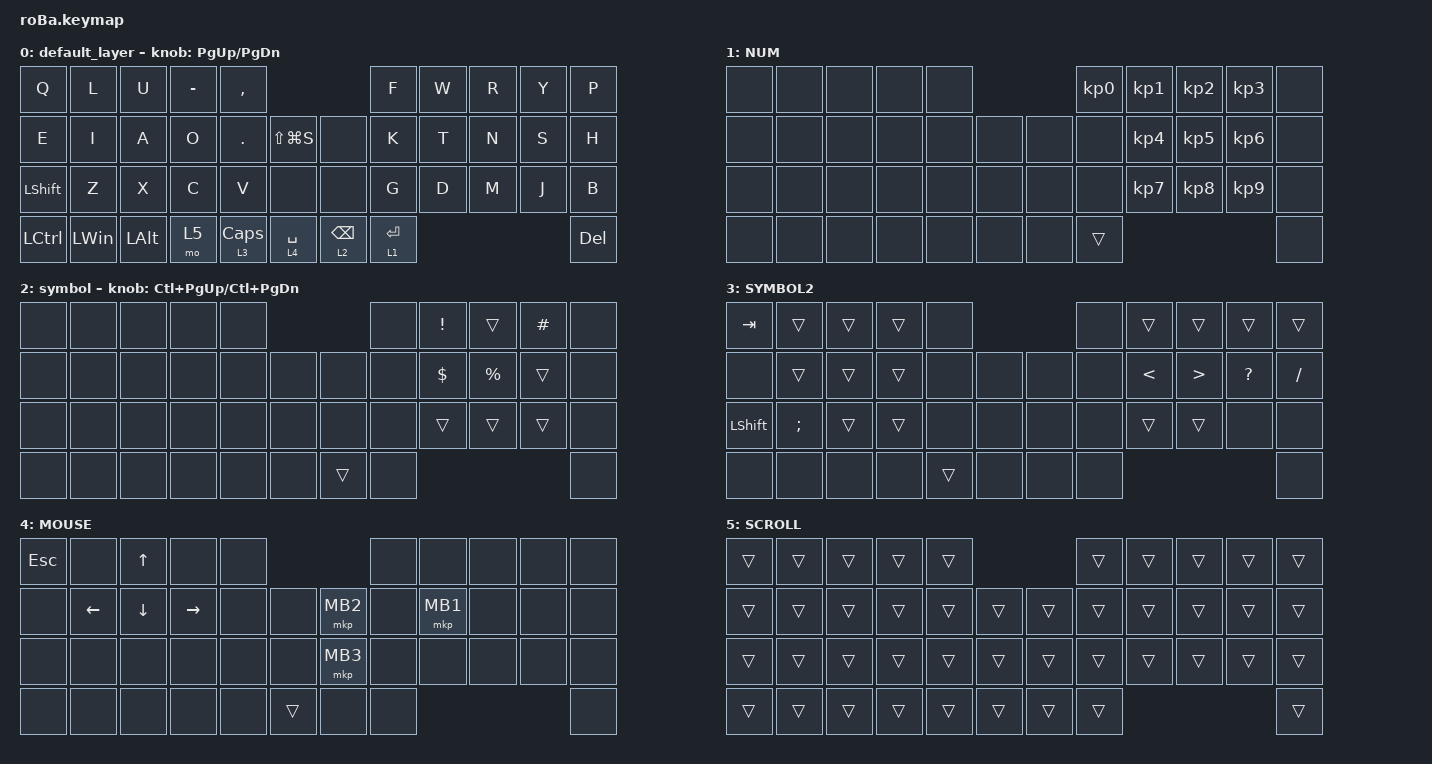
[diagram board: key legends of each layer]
#include <behaviors.dtsi>
#include <dt-bindings/zmk/keys.h>
#include <dt-bindings/zmk/pointing.h>

&mt {
    flavor = "balanced";
    quick-tap-ms = <0>;
};

&trackball {
    automouse-layer = <4>;
    scroll-layers = <5>;

    // arrows {
    //     layers = <3>;
    //     bindings =
    //         <&kp RIGHT_ARROW>,
    //         <&kp LEFT_ARROW>,
    //         <&kp UP_ARROW>,
    //         <&kp DOWN_ARROW>;
    //     tick = <10>;
    //     wait-ms = <5>;
    //     tap-ms = <5>;
    // };
};

/ {
    combos {
        compatible = "zmk,combos";

        tab {
            bindings = <&kp TAB>;
            key-positions = <11 12>;
        };

        shift_tab {
            bindings = <&kp LS(TAB)>;
            key-positions = <12 13>;
        };

        muhennkann {
            bindings = <&to_layer_0 INT_MUHENKAN>;
            key-positions = <11 10>;
        };

        double_quotation {
            bindings = <&kp DOUBLE_QUOTES>;
            key-positions = <20 21>;
        };

        eq {
            bindings = <&kp EQUAL>;
            key-positions = <24 25>;
        };
    };

    macros {
        to_layer_0: to_layer_0 {
            compatible = "zmk,behavior-macro-one-param";
            #binding-cells = <1>;
            bindings = <&to 0 &macro_param_1to1 &kp MACRO_PLACEHOLDER>;
            label = "TO_LAYER_0";
        };
    };

    behaviors {
        lt_to_layer_0: lt_to_layer_0 {
            compatible = "zmk,behavior-hold-tap";
            label = "LAYER_TAP_TO_0";
            bindings = <&mo>, <&to_layer_0>;

            #binding-cells = <2>;
            tapping-term-ms = <200>;
        };
    };

    keymap {
        compatible = "zmk,keymap";

        default_layer {
            bindings = <
&kp Q           &kp L         &kp U         &kp MINUS  &kp COMMA                                                             &kp F        &kp W  &kp R  &kp Y  &kp P
&kp E           &kp I         &kp A         &kp O      &kp PERIOD             &kp LS(LG(S))      &none                       &kp K        &kp T  &kp N  &kp S  &kp H
&kp LEFT_SHIFT  &kp Z         &kp X         &kp C      &kp V                  &none              &none                       &kp G        &kp D  &kp M  &kp J  &kp B
&kp LCTRL       &kp LEFT_WIN  &kp LEFT_ALT  &mo 5      &lt_to_layer_0 3 CAPS  &lt 4 SPACE        &lt_to_layer_0 2 BACKSPACE  &lt 1 ENTER                       &kp DELETE
            >;

            sensor-bindings = <&inc_dec_kp PG_UP PAGE_DOWN>;
        };

        NUM {
            bindings = <
&none  &none  &none  &none  &none                    &kp KP_NUMBER_0  &kp KP_NUMBER_1  &kp KP_NUMBER_2  &kp KP_NUMBER_3  &none
&none  &none  &none  &none  &none  &none      &none  &none            &kp KP_NUMBER_4  &kp KP_NUMBER_5  &kp KP_NUMBER_6  &none
&none  &none  &none  &none  &none  &none      &none  &none            &kp KP_NUMBER_7  &kp KP_NUMBER_8  &kp KP_NUMBER_9  &none
&none  &none  &none  &none  &none  &none      &none  &trans                                                              &none
            >;
        };

        symbol {
            bindings = <
&none  &none  &none  &none  &none                     &none  &kp EXCLAMATION  &trans       &kp HASH  &none
&none  &none  &none  &none  &none  &none      &none   &none  &kp DOLLAR       &kp PERCENT  &trans    &none
&none  &none  &none  &none  &none  &none      &none   &none  &trans           &trans       &trans    &none
&none  &none  &none  &none  &none  &none      &trans  &none                                          &none
            >;

            sensor-bindings = <&inc_dec_kp LC(PAGE_UP) LC(PAGE_DOWN)>;
        };

        SYMBOL2 {
            bindings = <
&kp TAB         &trans         &trans  &trans  &none                     &none  &trans         &trans            &trans        &trans
&none           &trans         &trans  &trans  &none   &none      &none  &none  &kp LESS_THAN  &kp GREATER_THAN  &kp QUESTION  &kp SLASH
&kp LEFT_SHIFT  &kp SEMICOLON  &trans  &trans  &none   &none      &none  &none  &trans         &trans            &none         &none
&none           &none          &none   &none   &trans  &none      &none  &none                                                 &none
            >;
        };

        MOUSE {
            bindings = <
&kp ESC  &none     &kp UP    &none      &none                        &none  &none     &none  &none  &none
&none    &kp LEFT  &kp DOWN  &kp RIGHT  &none  &none       &mkp MB2  &none  &mkp MB1  &none  &none  &none
&none    &none     &none     &none      &none  &none       &mkp MB3  &none  &none     &none  &none  &none
&none    &none     &none     &none      &none  &trans      &none     &none                          &none
            >;
        };

        SCROLL {
            bindings = <
&trans  &trans  &trans  &trans  &trans                      &trans  &trans  &trans  &trans  &trans
&trans  &trans  &trans  &trans  &trans  &trans      &trans  &trans  &trans  &trans  &trans  &trans
&trans  &trans  &trans  &trans  &trans  &trans      &trans  &trans  &trans  &trans  &trans  &trans
&trans  &trans  &trans  &trans  &trans  &trans      &trans  &trans                          &trans
            >;
        };
    };
};
